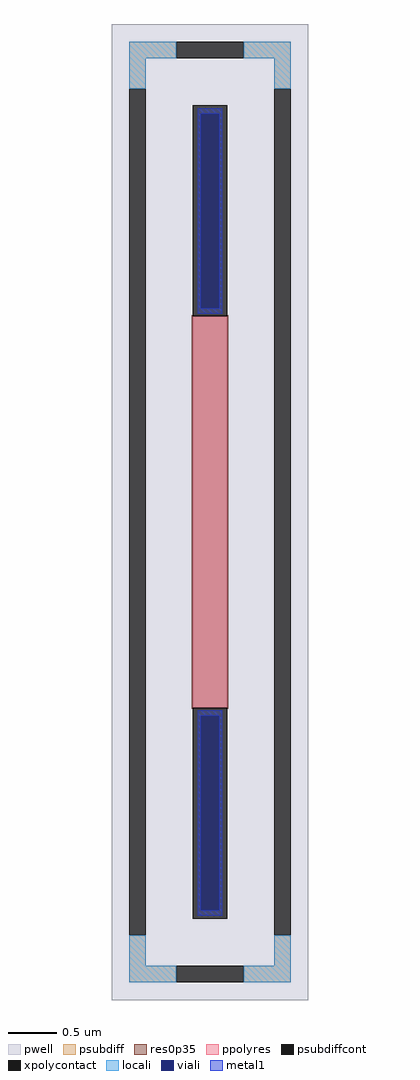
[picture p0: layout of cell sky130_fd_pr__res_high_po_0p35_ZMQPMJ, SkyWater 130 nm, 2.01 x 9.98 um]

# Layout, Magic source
magic
tech sky130A
magscale 1 2
<< pwell >>
rect -201 -998 201 998
<< psubdiff >>
rect -165 928 -69 962
rect 69 928 165 962
rect -165 866 -131 928
rect 131 866 165 928
rect -165 -928 -131 -866
rect 131 -928 165 -866
rect -165 -962 -69 -928
rect 69 -962 165 -928
<< psubdiffcont >>
rect -69 928 69 962
rect -165 -866 -131 866
rect 131 -866 165 866
rect -69 -962 69 -928
<< xpolycontact >>
rect -35 400 35 832
rect -35 -832 35 -400
<< ppolyres >>
rect -35 -400 35 400
<< locali >>
rect -165 928 -69 962
rect 69 928 165 962
rect -165 866 -131 928
rect 131 866 165 928
rect -165 -928 -131 -866
rect 131 -928 165 -866
rect -165 -962 -69 -928
rect 69 -962 165 -928
<< viali >>
rect -19 417 19 814
rect -19 -814 19 -417
<< metal1 >>
rect -25 814 25 826
rect -25 417 -19 814
rect 19 417 25 814
rect -25 405 25 417
rect -25 -417 25 -405
rect -25 -814 -19 -417
rect 19 -814 25 -417
rect -25 -826 25 -814
<< res0p35 >>
rect -37 -402 37 402
<< properties >>
string FIXED_BBOX -148 -945 148 945
string gencell sky130_fd_pr__res_high_po_0p35
string library sky130
string parameters w 0.350 l 4.0 m 1 nx 1 wmin 0.350 lmin 0.50 rho 319.8 val 4.768k dummy 0 dw 0.0 term 194.82 sterm 0.0 caplen 0 guard 1 glc 1 grc 1 gtc 1 gbc 1 compatible {sky130_fd_pr__res_high_po_0p35  sky130_fd_pr__res_high_po_0p69 sky130_fd_pr__res_high_po_1p41  sky130_fd_pr__res_high_po_2p85 sky130_fd_pr__res_high_po_5p73} full_metal 1 wmax 0.350 vias 1 n_guard 0 hv_guard 0 viagb 0 viagt 0 viagl 0 viagr 0
<< end >>
